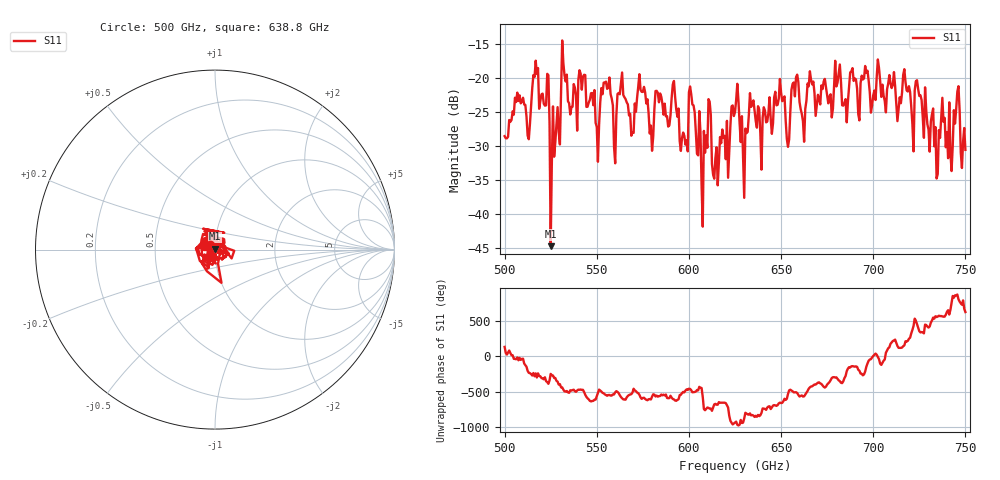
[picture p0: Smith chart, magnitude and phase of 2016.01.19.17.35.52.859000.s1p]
!Created with skrf (http://scikit-rf.org).
# GHz S RI R 50.0
!freq ReS11 ImS11
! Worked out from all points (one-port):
!   401 points, 500 GHz to 750 GHz, reference 50 ohm
!   lowest |S11| = -44.7 dB at 525 GHz (marker M1), VSWR 1.01, Z = 49.8 + j0.534 ohm
!   |S11| at or under -10 dB: start of sweep to end of sweep
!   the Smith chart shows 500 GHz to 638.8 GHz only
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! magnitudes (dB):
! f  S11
! 500 GHz  -28.6
! 513.1 GHz  -29.0
! 516.9 GHz  -17.5
! 525 GHz  -44.7
! 531.2 GHz  -14.5
! 550.6 GHz  -32.3
! 562.5 GHz  -22.4
! 568.8 GHz  -28.5
! 573.8 GHz  -21.8
! 579.4 GHz  -27.0
! 583.1 GHz  -22.2
! 593.8 GHz  -25.7
! 598.1 GHz  -29.8
! 601.2 GHz  -22.4
! 608.1 GHz  -27.8
! 610.6 GHz  -23.1
! 614.4 GHz  -31.7
! 625 GHz  -25.0
! 630.6 GHz  -27.4
! 633.8 GHz  -24.3
! 650.6 GHz  -23.4
! 653.8 GHz  -30.1
! 656.2 GHz  -20.9
! 687.5 GHz  -19.2
! 718.8 GHz  -22.0
! 734.4 GHz  -34.8
! 745 GHz  -24.6
! 750 GHz  -30.6
